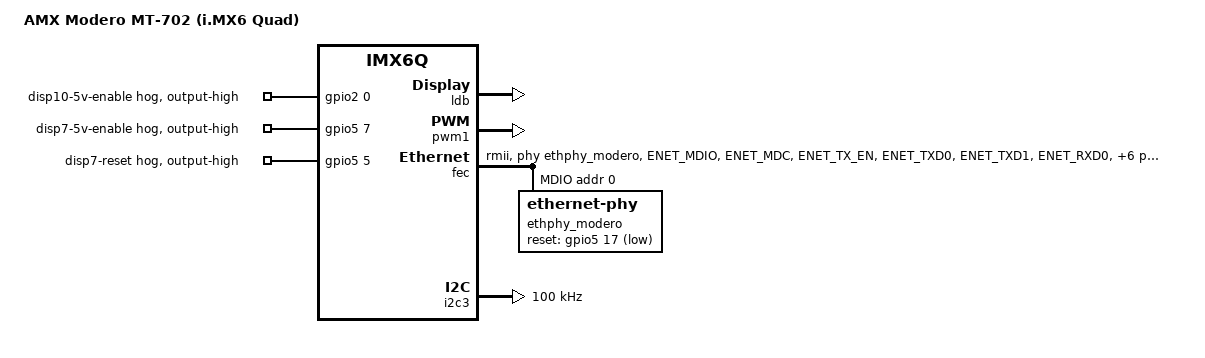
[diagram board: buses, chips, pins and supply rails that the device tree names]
// SPDX-License-Identifier: GPL-2.0
/*
 * AMX Modero MT-702 (i.MX6 Quad) — mainline device tree, first cut.
 *
 * Board is a SABRE-SD/SabreAuto derivative, so we inherit imx6q-sabresd.dts
 * (working UART console, uSDHC, clocks) and override the Modero-specific parts
 * from the live stock extraction (see modero-board-data.md):
 *   - LVDS 7" 800x1280 panel (LDB ch0 -> IPU DI0, 24-bit SPWG) + power/reset + backlight
 *   - FEC: generic PHY @ addr 0, reset GPIO5_IO17, real MAC
 *   - maXTouch mXT336T on i2c3 @0x4a, INT GPIO2_IO02, RST GPIO2_IO03
 *   - uSDHC2 phantom write-protect -> disable-wp
 *
 * ITERATE: panel pixel-timing is a reasonable 800x1280@60 guess (tune visually);
 * the 7" panel also has a 3-wire SPI config bus (disp7-sclk/sda/ss on GPIO4) that
 * MAY need an init sequence — try power+reset+LVDS first.
 */
/dts-v1/;
#include "imx6q-sabresd.dts"

/ {
	model = "AMX Modero MT-702 (i.MX6 Quad)";
	compatible = "amx,imx6q-modero", "fsl,imx6q-sabresd", "fsl,imx6q";

	/* Modero drives LVDS *channel 0*; remove sabresd's channel-1
	 * Hannstar 1024x768 panel (its mode conflicts and blocks the fbdev modeset).
	 * The existing backlight_lvds stays on and lights our panel. */
	/delete-node/ panel;
};

/* Disable the unused LDB channel 1 (sabresd wired its panel here). */
&ldb {
	lvds-channel@1 {
		status = "disabled";
		/delete-node/ port@4;	/* removes the dangling panel endpoint */
	};
};

&iomuxc {
    /* i.MX6 pinctrl is two-level: pin groups MUST sit under a function
     * container node. As direct children of &iomuxc the driver treats each
     * group as a function, logs "no groups defined", and the whole Modero
     * pinmux silently never applies (pins stay on U-Boot's leftover mux). */
    modero {
	/* Panel power/reset + FEC phy reset, all muxed as GPIO
	 * (DISP0_DAT* and NANDF_D* pads are free because the panel is LVDS). */
	pinctrl_modero_disp: moderodispgrp {
		fsl,pins = <
			MX6QDL_PAD_DISP0_DAT13__GPIO5_IO07 0x1b0b0 /* disp7-5v-enable */
			MX6QDL_PAD_DISP0_DAT11__GPIO5_IO05 0x1b0b0 /* disp7-reset    */
			/* NANDF_D6 (display-pwr-en, 10" variant) REMOVED: it is SD2_DATA6
			 * for usdhc2 (the rootfs SD); claiming it here failed the SD
			 * controller probe and hung the boot. This 7" unit doesn't need it. */
			MX6QDL_PAD_NANDF_D0__GPIO2_IO00    0x1b0b0 /* disp10-5v-enable*/
		>;
	};
	pinctrl_modero_enet_rst: moderoenetrstgrp {
		fsl,pins = <
			MX6QDL_PAD_DISP0_DAT23__GPIO5_IO17 0x1b0b0 /* enet-phy-reset */
		>;
	};
	/* ENET pinmux matching the STOCK live register dump (ddr-regs.txt):
	 * the key fix vs sabresd is NOT muxing ENET_REF_CLK pad as ENET_TX_CLK
	 * (stock leaves it as GPIO1_IO23); GPIO_16 feeds ENET_REF_CLK WITHOUT SION. */
	/* RMII (SMSC LAN8710/8720, 100M) — matches the stock ENET pin mux (all ALT1). */
	pinctrl_modero_enet: moderoenetgrp {
		fsl,pins = <
			MX6QDL_PAD_ENET_MDIO__ENET_MDIO		0x1b0b0
			MX6QDL_PAD_ENET_MDC__ENET_MDC		0x1b0b0
			MX6QDL_PAD_ENET_TX_EN__ENET_TX_EN	0x1b0b0
			MX6QDL_PAD_ENET_TXD0__ENET_TX_DATA0	0x1b0b0
			MX6QDL_PAD_ENET_TXD1__ENET_TX_DATA1	0x1b0b0
			MX6QDL_PAD_ENET_RXD0__ENET_RX_DATA0	0x1b0b0
			MX6QDL_PAD_ENET_RXD1__ENET_RX_DATA1	0x1b0b0
			MX6QDL_PAD_ENET_RX_ER__ENET_RX_ER	0x1b0b0
			MX6QDL_PAD_ENET_CRS_DV__ENET_RX_EN	0x1b0b0
			MX6QDL_PAD_GPIO_16__ENET_REF_CLK	0x4001b0a8  /* 50MHz RMII ref out on GPIO_16 WITH SION. Mainline needs SION here (kernel's own imx6qdl-dhcom-som rmii board uses this exact value); the old Android BSP clocked it without SION, so the stock dump doesn't translate. */
			MX6QDL_PAD_ENET_REF_CLK__GPIO1_IO23	0x1b0b0  /* stock: this pad is GPIO */
		>;
	};
	pinctrl_modero_mxt: moderomxtgrp {
		fsl,pins = <
			MX6QDL_PAD_NANDF_D2__GPIO2_IO02 0x1b0b0 /* maXTouch INT */
			MX6QDL_PAD_NANDF_D3__GPIO2_IO03 0x1b0b0 /* maXTouch RST */
		>;
	};
    };	/* modero function container */
};

/* Assert panel power rails + de-assert panel reset at boot (stock had these "out hi"). */
&gpio2 {
	pinctrl-names = "default";
	pinctrl-0 = <&pinctrl_modero_disp>;

	/* disp-pwr-en-hog (GPIO2_IO06 / NANDF_D6) REMOVED — that pad is SD2_DATA6. */
	disp10-5v-hog {
		gpio-hog;
		gpios = <0 GPIO_ACTIVE_HIGH>;	/* GPIO2_IO00 disp10-5v-enable */
		output-high;
		line-name = "disp10-5v-enable";
	};
};

&gpio5 {
	panel-5v-hog {
		gpio-hog;
		gpios = <7 GPIO_ACTIVE_HIGH>;	/* GPIO5_IO07 disp7-5v-enable */
		output-high;
		line-name = "disp7-5v-enable";
	};
	panel-reset-hog {
		gpio-hog;
		gpios = <5 GPIO_ACTIVE_HIGH>;	/* GPIO5_IO05 disp7-reset (de-assert) */
		output-high;
		line-name = "disp7-reset";
	};
};

/* LVDS: single channel 0 from IPU DI0, 24-bit SPWG, 800x1280@60 (GPR2=0x2a1). */
&ldb {
	status = "okay";

	lvds-channel@0 {
		fsl,data-mapping = "spwg";
		fsl,data-width = <24>;
		status = "okay";

		display-timings {
			native-mode = <&timing_modero>;
			/* TODO: tune porches to the exact panel; 800x1280@60 ~68MHz */
			timing_modero: timing-800x1280 {
				clock-frequency = <68000000>;
				hactive = <800>;
				vactive = <1280>;
				hback-porch = <24>;
				hfront-porch = <24>;
				hsync-len = <8>;
				vback-porch = <4>;
				vfront-porch = <8>;
				vsync-len = <4>;
				hsync-active = <0>;
				vsync-active = <0>;
				de-active = <1>;
				pixelclk-active = <0>;
			};
		};
	};
};

&pwm1 {
	status = "okay";
};

/* FEC: RMII to an SMSC LAN8710/8720 PHY at MDIO addr 0, SoC-sourced 50MHz ref
 * clock (out on GPIO_16 = ENET_REF_CLK, SION loops it back to clock the MAC).
 * The full RMII pinmux is pinctrl_modero_enet (matches the stock reg dump);
 * reset the PHY on GPIO5_IO17. MDIO now binds the real SMSC driver. */
&fec {
	pinctrl-names = "default";
	pinctrl-0 = <&pinctrl_modero_enet &pinctrl_modero_enet_rst>;
	phy-mode = "rmii";	/* SMSC LAN8710/8720, 100M RMII (NOT gigabit) */
	local-mac-address = [00 60 9F A5 B3 ED];
	phy-handle = <&ethphy_modero>;
	fsl,magic-packet;
	status = "okay";	/* enet_ref stays at its 50MHz default for RMII */

	/delete-node/ mdio;	/* drop sabresd's Atheros phy@1 */

	mdio {
		#address-cells = <1>;
		#size-cells = <0>;

		ethphy_modero: ethernet-phy@0 {
			reg = <0>;
			/* SMSC LAN8710/8720 keeps EDPD on in POLL mode, which powers
			 * the PHY down on brief idle -> ~1s link flap that blocks
			 * RX/DHCP. Disable energy-detect to hold the link steady. */
			smsc,disable-energy-detect;
			reset-gpios = <&gpio5 17 GPIO_ACTIVE_LOW>;
			reset-assert-us = <20000>;
			reset-deassert-us = <100000>;
		};
	};
};

/* uSDHC2 = the boot SD (mmcblk1). The Modero has no WP line; ignore the phantom one. */
&usdhc2 {
	disable-wp;
};

/* maXTouch mXT336T on I2C3 @0x4a. */
&i2c3 {
	clock-frequency = <100000>;
	status = "okay";

	touchscreen@4a {
		compatible = "atmel,maxtouch";
		reg = <0x4a>;
		status = "disabled";	/* isolation: re-enable once display is confirmed */
		pinctrl-names = "default";
		pinctrl-0 = <&pinctrl_modero_mxt>;
		interrupt-parent = <&gpio2>;
		interrupts = <2 IRQ_TYPE_EDGE_FALLING>;	/* GPIO2_IO02 */
		reset-gpios = <&gpio2 3 GPIO_ACTIVE_LOW>;	/* GPIO2_IO03 captouch-rst (stock holds hi=run) */
	};
};

/* Modero drives ENET_TXD1 + ENET_CRS_DV as RMII, so drop them from the sabresd
 * GPIO hog (they'd otherwise conflict with the FEC's RMII pinmux). */
/* Drop from sabresd's hog every pad the Modero repurposes into its own groups,
 * else the pad is double-claimed -> pinctrl dependency cycle -> SD controller
 * deferred -> boot hangs waiting for root. Removed here: ENET_TXD1/ENET_CRS_DV
 * (now FEC RMII), NANDF_D0 (disp10-5v-enable), NANDF_D2/D3 (maXTouch INT/RST). */
&pinctrl_hog {
	fsl,pins = <
		MX6QDL_PAD_NANDF_D1__GPIO2_IO01  0x1b0b0
		MX6QDL_PAD_GPIO_0__CCM_CLKO1     0x130b0
		MX6QDL_PAD_NANDF_CLE__GPIO6_IO07 0x1b0b0
		MX6QDL_PAD_EIM_D22__GPIO3_IO22   0x1b0b0
	>;
};
